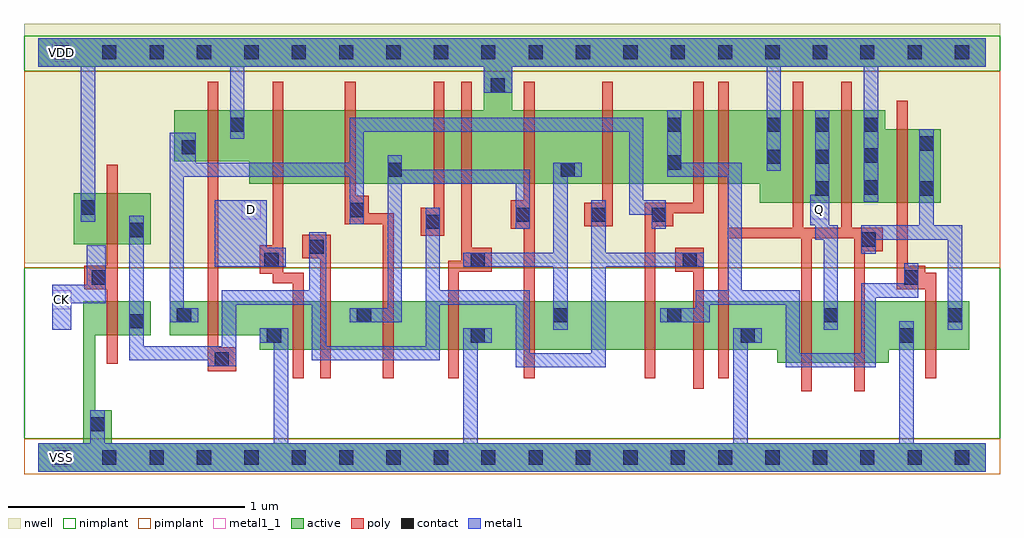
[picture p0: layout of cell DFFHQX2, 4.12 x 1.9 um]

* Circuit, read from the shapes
.subckt DFFHQX2 CK D Q VDD VSS
M1 n1 CK VSS VSS nfet w=0.145u l=0.045u
M2 VSS n1 n2 VSS nfet w=0.145u l=0.045u
M3 n3 D VSS VSS nfet w=0.205u l=0.045u
M4 n4 n1 n3 VSS nfet w=0.205u l=0.045u
M5 n5 n2 n4 VSS nfet w=0.205u l=0.045u
M6 VSS n6 n5 VSS nfet w=0.205u l=0.045u
M7 n6 n4 VSS VSS nfet w=0.205u l=0.045u
M8 n7 n2 n6 VSS nfet w=0.205u l=0.045u
M9 n8 n1 n7 VSS nfet w=0.205u l=0.045u
M10 VSS n9 n8 VSS nfet w=0.205u l=0.045u
M11 Q n9 VSS VSS nfet w=0.26u l=0.045u m=2
M12 n9 n7 VSS VSS nfet w=0.205u l=0.045u
M13 n1 CK VDD VDD pfet w=0.215u l=0.045u
M14 VDD n1 n2 VDD pfet w=0.215u l=0.045u
M15 n10 D VDD VDD pfet w=0.31u l=0.045u
M16 n4 n2 n10 VDD pfet w=0.31u l=0.045u
M17 n11 n1 n4 VDD pfet w=0.31u l=0.045u
M18 VDD n6 n11 VDD pfet w=0.31u l=0.045u
M19 n6 n4 VDD VDD pfet w=0.31u l=0.045u
M20 n7 n1 n6 VDD pfet w=0.31u l=0.045u
M21 n12 n2 n7 VDD pfet w=0.31u l=0.045u
M22 VDD n9 n12 VDD pfet w=0.31u l=0.045u
M23 Q n9 VDD VDD pfet w=0.39u l=0.045u m=2
M24 n9 n7 VDD VDD pfet w=0.31u l=0.045u
.ends

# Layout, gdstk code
import gdstk
lib = gdstk.Library(unit=1e-6, precision=5e-10)
def R(c, l, rs):  # rectangles x0, y0, x1, y1
    for r in rs: c.add(gdstk.rectangle(r[:2], r[2:], *l))
def A(c, l, x, y, w, h, nx, ny, dx, dy):  # array of equal rectangles
    R(c, l, [(x+i*dx, y+j*dy, x+i*dx+w, y+j*dy+h) for i in range(nx) for j in range(ny)])
def P(c, l, *ps):  # polygons
    for p in ps: c.add(gdstk.Polygon(p, *l))
active = (1, 0)
nwell = (2, 0)
poly = (3, 0)
nimplant = (4, 0)
pimplant = (5, 0)
contact = (6, 0)
metal1 = (7, 0)
metal1_1 = (7, 1)

dffhqx2 = lib.new_cell('DFFHQX2')
R(dffhqx2, active, [(0.15,0.9,0.475,1.115)])
P(dffhqx2, active, [(0,1.77),(4,1.77),(4,1.65),(2,1.65),(2,1.465),(3.575,1.465),(3.575,1.385),(3.81,1.385),(3.81,1.075),(3.045,1.075),(3.045,1.155),(0.89,1.155),(0.89,1.25),(0.575,1.25),(0.575,1.465),(1.88,1.465),(1.88,1.65),(0,1.65)],
  [(0.19,0.66),(0.475,0.66),(0.475,0.515),(0.24,0.515),(0.24,0.2),(0.31,0.2),(0.31,0.06),(4,0.06),(4,-0.06),(0,-0.06),(0,0.06),(0.19,0.06)],
  [(0.555,0.66),(3.93,0.66),(3.93,0.455),(3.59,0.455),(3.59,0.4),(3.12,0.4),(3.12,0.455),(0.935,0.455),(0.935,0.515),(0.555,0.515)])
R(dffhqx2, nwell, [(-0.06,0.82,4.06,1.83)])
P(dffhqx2, poly, [(0.715,1.585),(0.76,1.585),(0.76,0.465),(0.835,0.465),(0.835,0.365),(0.715,0.365)],
  [(0.99,1.585),(1.035,1.585),(1.035,0.78),(1.12,0.78),(1.12,0.335),(1.075,0.335),(1.075,0.735),(0.99,0.735),(0.99,0.775),(0.935,0.775),(0.935,0.895),(0.99,0.895)],
  [(1.295,1.585),(1.34,1.585),(1.34,1.105),(1.395,1.105),(1.395,1.03),(1.5,1.03),(1.5,0.335),(1.455,0.335),(1.455,0.985),(1.295,0.985)],
  [(1.67,1.585),(1.715,1.585),(1.715,0.935),(1.615,0.935),(1.615,1.055),(1.67,1.055)],
  [(1.785,1.585),(1.83,1.585),(1.83,0.885),(1.915,0.885),(1.915,0.785),(1.775,0.785),(1.775,0.335),(1.73,0.335),(1.73,0.83),(1.785,0.83)],
  [(2.05,1.585),(2.095,1.585),(2.095,0.335),(2.05,0.335),(2.05,0.965),(1.995,0.965),(1.995,1.085),(2.05,1.085)],
  [(2.38,1.585),(2.425,1.585),(2.425,0.975),(2.305,0.975),(2.305,1.075),(2.38,1.075)],
  [(2.765,1.585),(2.81,1.585),(2.81,1.03),(2.68,1.03),(2.68,0.975),(2.605,0.975),(2.605,0.335),(2.56,0.335),(2.56,1.075),(2.765,1.075)],
  [(2.87,1.585),(2.915,1.585),(2.915,0.97),(3.185,0.97),(3.185,1.585),(3.23,1.585),(3.23,0.97),(3.39,0.97),(3.39,1.585),(3.435,1.585),(3.435,0.97),(3.565,0.97),(3.565,0.87),(3.49,0.87),(3.49,0.28),(3.445,0.28),(3.445,0.925),(3.265,0.925),(3.265,0.28),(3.22,0.28),(3.22,0.925),(2.915,0.925),(2.915,0.335),(2.87,0.335)],
  [(0.29,1.235),(0.335,1.235),(0.335,0.395),(0.29,0.395),(0.29,0.71),(0.195,0.71),(0.195,0.81),(0.29,0.81)],
  [(1.115,0.94),(1.235,0.94),(1.235,0.335),(1.19,0.335),(1.19,0.84),(1.115,0.84)],
  [(3.625,1.505),(3.67,1.505),(3.67,0.81),(3.745,0.81),(3.745,0.78),(3.79,0.78),(3.79,0.335),(3.745,0.335),(3.745,0.71),(3.625,0.71)],
  [(2.69,0.885),(2.81,0.885),(2.81,0.29),(2.765,0.29),(2.765,0.785),(2.69,0.785)])
R(dffhqx2, nimplant, [(-0.06,0.08,4.06,0.8), (-0.06,1.63,4.06,1.78)])
R(dffhqx2, pimplant, [(-0.06,-0.07,4.06,0.08), (-0.06,0.8,4.06,1.63)])
A(dffhqx2, contact, 0.07, -0.03, 0.06, 0.06, 20, 2, 0.2, 1.71)
A(dffhqx2, contact, 3.075, 1.375, 0.06, 0.06, 3, 1, 0.205, 0)
R(dffhqx2, contact, [(0.22,0.11,0.28,0.17), (0.745,0.385,0.805,0.445), (0.965,0.485,1.025,0.545), (1.825,0.485,1.885,0.545), (2.965,0.485,3.025,0.545), (3.635,0.485,3.695,0.545), (0.385,0.545,0.445,0.605), (0.585,0.57,0.645,0.63), (1.345,0.57,1.405,0.63), (2.175,0.57,2.235,0.63), (2.655,0.57,2.715,0.63), (3.315,0.57,3.375,0.63), (3.84,0.57,3.9,0.63), (0.225,0.73,0.285,0.79), (3.655,0.73,3.715,0.79), (0.955,0.805,1.015,0.865), (1.825,0.805,1.885,0.865), (2.72,0.805,2.78,0.865), (1.145,0.86,1.205,0.92), (3.475,0.89,3.535,0.95), (0.385,0.93,0.445,0.99), (1.635,0.965,1.695,1.025), (2.015,0.995,2.075,1.055), (2.335,0.995,2.395,1.055), (2.59,0.995,2.65,1.055), (1.315,1.015,1.375,1.075), (0.18,1.025,0.24,1.085), (3.28,1.105,3.34,1.165), (3.72,1.105,3.78,1.165), (3.485,1.11,3.545,1.17), (1.475,1.185,1.535,1.245), (2.205,1.185,2.265,1.245), (2.655,1.215,2.715,1.275), (3.075,1.24,3.135,1.3), (3.28,1.24,3.34,1.3), (3.485,1.245,3.545,1.305), (0.605,1.28,0.665,1.34), (3.72,1.295,3.78,1.355), (0.81,1.375,0.87,1.435), (2.655,1.375,2.715,1.435), (1.91,1.54,1.97,1.6)])
P(dffhqx2, metal1, [(0,1.77),(4,1.77),(4,1.65),(3.545,1.65),(3.545,1.08),(3.485,1.08),(3.485,1.65),(3.135,1.65),(3.135,1.21),(3.075,1.21),(3.075,1.65),(2,1.65),(2,1.54),(1.88,1.54),(1.88,1.65),(0.87,1.65),(0.87,1.345),(0.81,1.345),(0.81,1.65),(0.24,1.65),(0.24,0.995),(0.18,0.995),(0.18,1.65),(0,1.65)],
  [(1.315,1.435),(2.555,1.435),(2.555,1.085),(2.65,1.085),(2.65,0.965),(2.59,0.965),(2.59,1.025),(2.495,1.025),(2.495,1.375),(1.375,1.375),(1.375,0.985),(1.315,0.985),(1.315,1.185),(0.615,1.185),(0.615,0.63),(0.675,0.63),(0.675,0.57),(0.555,0.57),(0.555,1.37),(0.665,1.37),(0.665,1.245),(1.315,1.245)],
  [(2.655,1.465),(2.715,1.465),(2.715,1.245),(2.97,1.245),(2.97,0.705),(3.215,0.705),(3.215,0.44),(3.475,0.44),(3.475,0.735),(3.655,0.735),(3.655,0.82),(3.715,0.82),(3.715,0.675),(3.535,0.675),(3.535,0.38),(3.155,0.38),(3.155,0.645),(2.835,0.645),(2.835,0.57),(2.625,0.57),(2.625,0.63),(2.775,0.63),(2.775,0.705),(2.91,0.705),(2.91,1.185),(2.655,1.185)],
  [(0.385,1.02),(0.445,1.02),(0.445,0.47),(0.775,0.47),(0.775,0.705),(1.145,0.705),(1.145,0.95),(1.215,0.95),(1.215,0.47),(1.635,0.47),(1.635,1.055),(1.695,1.055),(1.695,0.705),(2.075,0.705),(2.075,0.44),(2.335,0.44),(2.335,1.085),(2.395,1.085),(2.395,0.865),(2.81,0.865),(2.81,0.805),(2.395,0.805),(2.395,0.38),(2.015,0.38),(2.015,0.645),(1.695,0.645),(1.695,0.41),(1.155,0.41),(1.155,0.645),(0.835,0.645),(0.835,0.385),(0.715,0.385),(0.715,0.41),(0.385,0.41)],
  [(0.205,0.895),(0.285,0.895),(0.285,0.65),(0.14,0.65),(0.14,0.54),(0.06,0.54),(0.06,0.73),(0.205,0.73)],
  [(0.745,1.085),(0.965,1.085),(0.965,0.885),(1.045,0.885),(1.045,0.805),(0.745,0.805)],
  [(1.475,1.275),(1.535,1.275),(1.535,1.215),(2.075,1.215),(2.075,0.965),(2.015,0.965),(2.015,1.155),(1.535,1.155),(1.535,0.57),(1.315,0.57),(1.315,0.63),(1.475,0.63)],
  [(0.935,0.545),(1.055,0.545),(1.055,0.06),(1.795,0.06),(1.795,0.545),(1.915,0.545),(1.915,0.485),(1.855,0.485),(1.855,0.06),(2.935,0.06),(2.935,0.545),(3.055,0.545),(3.055,0.485),(2.995,0.485),(2.995,0.06),(3.635,0.06),(3.635,0.575),(3.695,0.575),(3.695,0.06),(4,0.06),(4,-0.06),(0,-0.06),(0,0.06),(0.22,0.06),(0.22,0.2),(0.28,0.2),(0.28,0.06),(0.995,0.06),(0.995,0.485),(0.935,0.485)],
  [(2.175,1.245),(2.295,1.245),(2.295,1.185),(2.235,1.185),(2.235,0.54),(2.175,0.54),(2.175,0.805),(1.795,0.805),(1.795,0.865),(2.175,0.865)],
  [(3.28,1.465),(3.34,1.465),(3.34,0.98),(3.375,0.98),(3.375,0.54),(3.315,0.54),(3.315,0.92),(3.28,0.92),(3.28,0.98),(3.26,0.98),(3.26,1.11),(3.28,1.11)],
  [(3.72,1.385),(3.78,1.385),(3.78,0.98),(3.9,0.98),(3.9,0.54),(3.84,0.54),(3.84,0.92),(3.535,0.92),(3.535,0.86),(3.475,0.86),(3.475,0.98),(3.72,0.98)])
R(dffhqx2, metal1_1, [(0.06,-0.04,0.14,0.04), (0.06,0.625,0.14,0.705), (0.86,1.005,0.94,1.085), (3.26,1.005,3.34,1.085), (0.06,1.67,0.14,1.75)])
dffhqx2.add(gdstk.Label('Q', (3.3,1.045), layer=7, texttype=1))
dffhqx2.add(gdstk.Label('D', (0.9,1.045), layer=7, texttype=1))
dffhqx2.add(gdstk.Label('CK', (0.1,0.665), layer=7, texttype=1))
dffhqx2.add(gdstk.Label('VDD', (0.1,1.71), layer=7, texttype=1))
dffhqx2.add(gdstk.Label('VSS', (0.1,0), layer=7, texttype=1))
dffhqx2.add(gdstk.Label('DFFHQX2', (0,0), layer=63, texttype=0))

lib.write_gds('DFFHQX2.gds')
